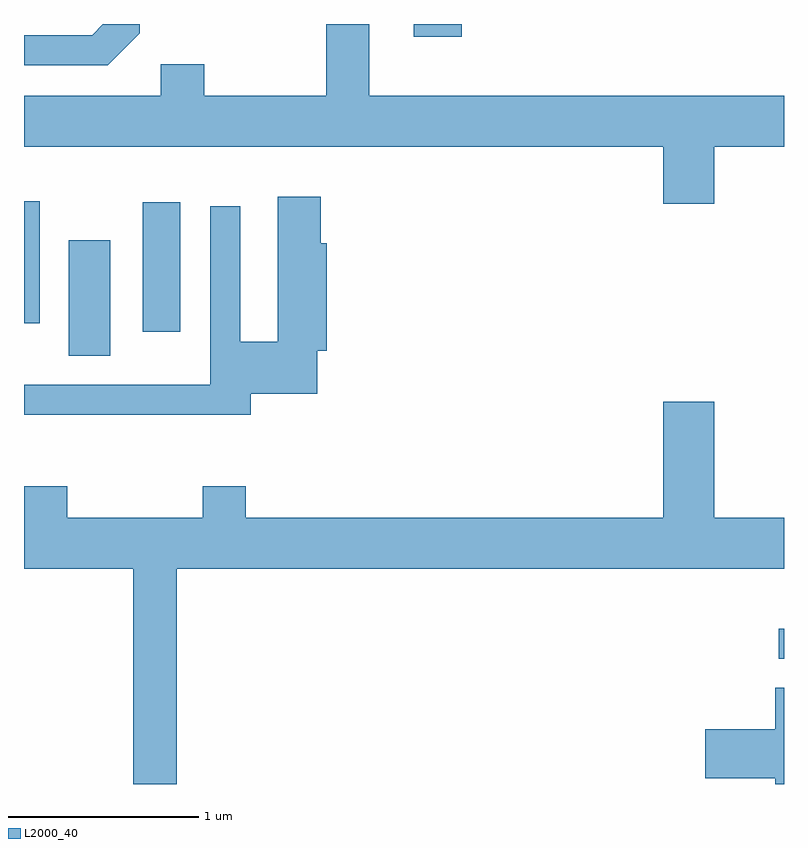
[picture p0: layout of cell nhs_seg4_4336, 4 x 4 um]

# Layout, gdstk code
import gdstk
lib = gdstk.Library(unit=1e-6, precision=1e-09)
def R(c, l, rs):  # rectangles x0, y0, x1, y1
    for r in rs: c.add(gdstk.rectangle(r[:2], r[2:], *l))
def P(c, l, *ps):  # polygons
    for p in ps: c.add(gdstk.Polygon(p, *l))
L2000_40 = (2000, 40)

nhs_seg4_4336 = lib.new_cell('nhs_seg4_4336')
R(nhs_seg4_4336, L2000_40, [(315.583,1358.641,315.611,1358.799), (311.846,1360.236,312.064,1360.844), (312.236,1360.361,312.434,1361.044), (311.611,1360.406,311.694,1361.049), (313.661,1361.916,313.914,1361.982)])
P(nhs_seg4_4336, L2000_40, [(315.244,1361.336),(315.611,1361.336),(315.611,1361.604),(313.429,1361.604),(313.429,1361.982),(313.201,1361.982),(313.201,1361.604),(312.559,1361.604),(312.559,1361.769),(312.331,1361.769),(312.331,1361.604),(311.611,1361.604),(311.611,1361.336),(314.976,1361.336),(314.976,1361.036),(315.244,1361.036)],
  [(312.219,1361.934),(312.219,1361.982),(312.026,1361.982),(311.969,1361.924),(311.611,1361.924),(311.611,1361.766),(312.052,1361.766)],
  [(312.804,1360.036),(313.154,1360.036),(313.154,1360.261),(313.204,1360.261),(313.204,1360.829),(313.174,1360.829),(313.174,1361.074),(312.946,1361.074),(312.946,1360.309),(312.749,1360.309),(312.749,1361.023),(312.591,1361.023),(312.591,1360.084),(311.611,1360.084),(311.611,1359.926),(312.804,1359.926)],
  [(312.414,1359.116),(315.611,1359.116),(315.611,1359.384),(315.244,1359.384),(315.244,1359.994),(314.976,1359.994),(314.976,1359.384),(312.779,1359.384),(312.779,1359.549),(312.551,1359.549),(312.551,1359.384),(311.839,1359.384),(311.839,1359.549),(311.611,1359.549),(311.611,1359.116),(312.186,1359.116),(312.186,1357.982),(312.414,1357.982)],
  [(315.611,1358.489),(315.566,1358.489),(315.566,1358.269),(315.196,1358.269),(315.196,1358.011),(315.566,1358.011),(315.566,1357.982),(315.611,1357.982)])

lib.write_gds('nhs_seg4_4336.gds')
